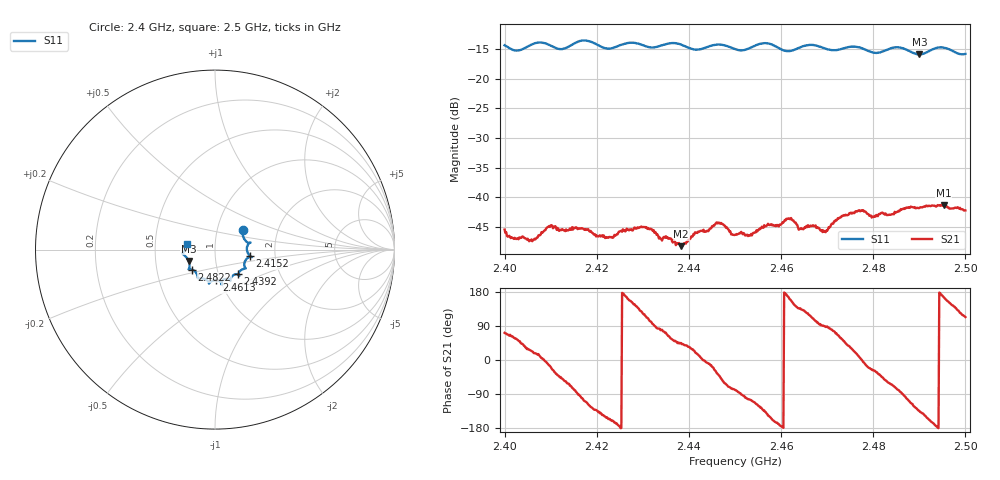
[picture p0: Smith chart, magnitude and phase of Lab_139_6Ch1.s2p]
# Hz S RI R 50
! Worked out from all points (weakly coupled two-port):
!   601 points, 2.4 GHz to 2.5 GHz, reference 50 ohm
!   highest |S21| = -41.30 dB at 2.4953 GHz (marker M1); lowest = -48.3 dB at 2.4383 GHz (marker M2)
!   lowest |S11| = -15.9 dB at 2.49 GHz (marker M3), VSWR 1.38, Z = 36.9 - j4.85 ohm
!   |S11| at or under -10 dB: start of sweep to end of sweep
!   S12 and S22 are empty: the file has one direction only
!   S11 on the Smith chart (normalised r, x): 2.4 GHz: 1.33, +0.31; 2.4152 GHz: 1.48, -0.11; 2.4392 GHz: 1.24, -0.35; 2.4613 GHz: 0.96, -0.34; 2.4822 GHz: 0.76, -0.17; 2.5 GHz: 0.73, +0.05
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2.4e9  0.1558 0.1108  0.00168 0.00506  0 0  0 0
2.405833e9  0.1902 0.0369  0.00403 0.00175  0 0  0 0
2.409833e9  0.1881 0.0336  0.0054 -0.00151  0 0  0 0
2.415167e9  0.1951 -0.0363  0.00101 -0.0054  0 0  0 0
2.416667e9  0.2047 -0.0423  -0.000962 -0.0054  0 0  0 0
2.422333e9  0.1672 -0.0646  -0.00407 -0.00207  0 0  0 0
2.43e9  0.1583 -0.1082  -0.00302 0.00472  0 0  0 0
2.433333e9  0.1321 -0.132  0.00058 0.00467  0 0  0 0
2.438333e9  0.1323 -0.1411  0.00275 0.00271  0 0  0 0
2.439167e9  0.127 -0.1379  0.0032 0.00257  0 0  0 0
2.446167e9  0.0857 -0.1738  0.00487 -0.00352  0 0  0 0
2.45e9  0.0688 -0.1639  0.000904 -0.00472  0 0  0 0
2.456667e9  0.0389 -0.1954  -0.00418 -0.00384  0 0  0 0
2.461333e9  0.00695 -0.1704  -0.00643 0.00122  0 0  0 0
2.466667e9  -0.0335 -0.1896  -0.00211 0.00528  0 0  0 0
2.4695e9  -0.039 -0.1758  7.45e-05 0.00511  0 0  0 0
2.4765e9  -0.0945 -0.1592  0.00732 0.00192  0 0  0 0
2.482167e9  -0.128 -0.1117  0.00493 -0.00536  0 0  0 0
2.483333e9  -0.1392 -0.1102  0.00353 -0.00614  0 0  0 0
2.49e9  -0.1467 -0.0639  -0.00566 -0.00579  0 0  0 0
2.495333e9  -0.1814 -0.0202  -0.00832 0.00221  0 0  0 0
2.5e9  -0.158 0.0339  -0.00306 0.00711  0 0  0 0
